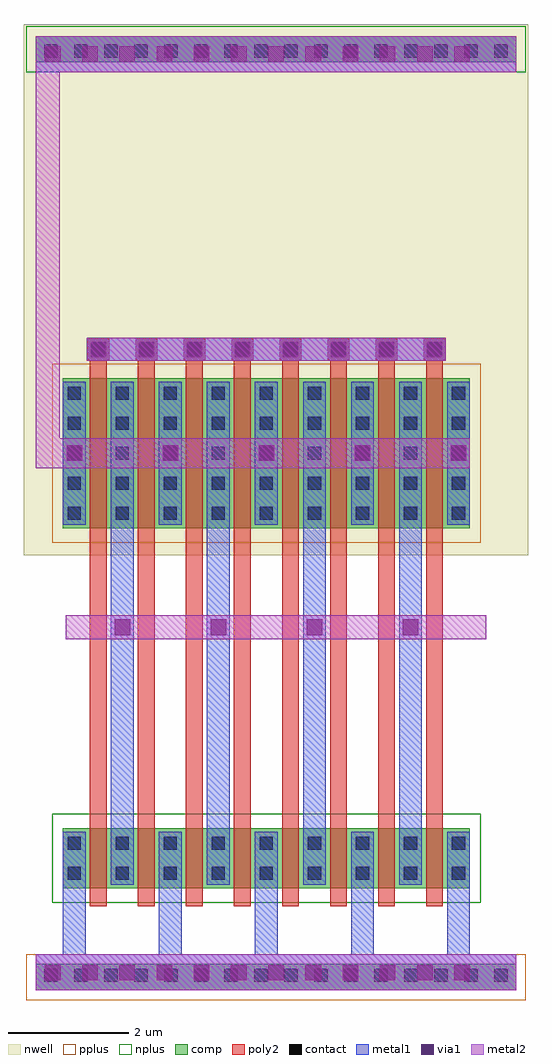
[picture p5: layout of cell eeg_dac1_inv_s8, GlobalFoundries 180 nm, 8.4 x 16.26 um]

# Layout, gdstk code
import gdstk
lib = gdstk.Library(unit=1e-6, precision=1e-09)
def R(c, l, rs):  # rectangles x0, y0, x1, y1
    for r in rs: c.add(gdstk.rectangle(r[:2], r[2:], *l))
def A(c, l, x, y, w, h, nx, ny, dx, dy):  # array of equal rectangles
    R(c, l, [(x+i*dx, y+j*dy, x+i*dx+w, y+j*dy+h) for i in range(nx) for j in range(ny)])
nwell = (21, 0)
comp = (22, 0)
poly2 = (30, 0)
pplus = (31, 0)
nplus = (32, 0)
contact = (33, 0)
metal1 = (34, 0)
via1 = (35, 0)
metal2 = (36, 0)

eeg_dac1_inv_s8 = lib.new_cell('eeg_dac1_inv_s8')
R(eeg_dac1_inv_s8, nwell, [(-0.2,7.25,8.2,16.1)])
R(eeg_dac1_inv_s8, comp, [(0,0,8,0.44), (0.45,1.7,7.23,2.7), (0.45,7.7,7.23,10.2), (0,15.46,8,15.9)])
A(eeg_dac1_inv_s8, poly2, 0.9, 1.4, 0.28, 6.3, 8, 1, 0.8, 0)
A(eeg_dac1_inv_s8, poly2, 0.9, 7.4, 0.28, 3.46, 8, 1, 0.8, 0)
A(eeg_dac1_inv_s8, poly2, 0.86, 10.5, 0.36, 0.36, 8, 1, 0.8, 0)
R(eeg_dac1_inv_s8, pplus, [(-0.16,-0.16,8.16,0.6), (0.27,7.46,7.41,10.44)])
R(eeg_dac1_inv_s8, nplus, [(0.27,1.46,7.41,2.94), (-0.16,15.3,8.16,16.06)])
A(eeg_dac1_inv_s8, contact, 0.14, 0.14, 0.22, 0.22, 16, 2, 0.5, 15.4)
A(eeg_dac1_inv_s8, contact, 0.53, 1.84, 0.22, 0.22, 9, 2, 0.8, 0.5)
A(eeg_dac1_inv_s8, contact, 0.53, 7.84, 0.22, 0.22, 9, 5, 0.8, 0.5)
A(eeg_dac1_inv_s8, contact, 0.93, 10.57, 0.22, 0.22, 8, 1, 0.8, 0)
A(eeg_dac1_inv_s8, metal1, 0.45, 0.3, 0.38, 2.34, 5, 1, 1.6, 0)
A(eeg_dac1_inv_s8, metal1, 1.25, 1.76, 0.38, 4.49, 4, 1, 1.6, 0)
A(eeg_dac1_inv_s8, metal1, 1.25, 5.85, 0.38, 4.29, 4, 1, 1.6, 0)
A(eeg_dac1_inv_s8, metal1, 0.45, 7.76, 0.38, 2.38, 5, 1, 1.6, 0)
R(eeg_dac1_inv_s8, metal1, [(0,0,8,0.6), (0,0,8,0.44), (0.85,10.49,6.83,10.87), (0,15.3,8,15.9), (0,15.46,8,15.9)])
A(eeg_dac1_inv_s8, via1, 0.15, 0.17, 0.26, 0.26, 12, 2, 0.62, 15.3)
A(eeg_dac1_inv_s8, via1, 0.51, 8.82, 0.26, 0.26, 5, 1, 1.6, 0)
A(eeg_dac1_inv_s8, via1, 0.91, 10.55, 0.26, 0.26, 8, 1, 0.8, 0)
R(eeg_dac1_inv_s8, via1, [(1.31,5.92,1.57,6.18), (1.31,5.92,1.57,6.18), (2.91,5.92,3.17,6.18), (2.91,5.92,3.17,6.18), (4.51,5.92,4.77,6.18), (4.51,5.92,4.77,6.18), (6.11,5.92,6.37,6.18), (6.11,5.92,6.37,6.18)])
R(eeg_dac1_inv_s8, metal2, [(0,0,8,0.6), (0.5,5.85,7.5,6.25), (0,8.7,7.23,9.2), (0,8.7,0.4,15.3), (0.85,10.49,6.83,10.87), (0,15.3,8,15.9)])

lib.write_gds('eeg_dac1_inv_s8.gds')
